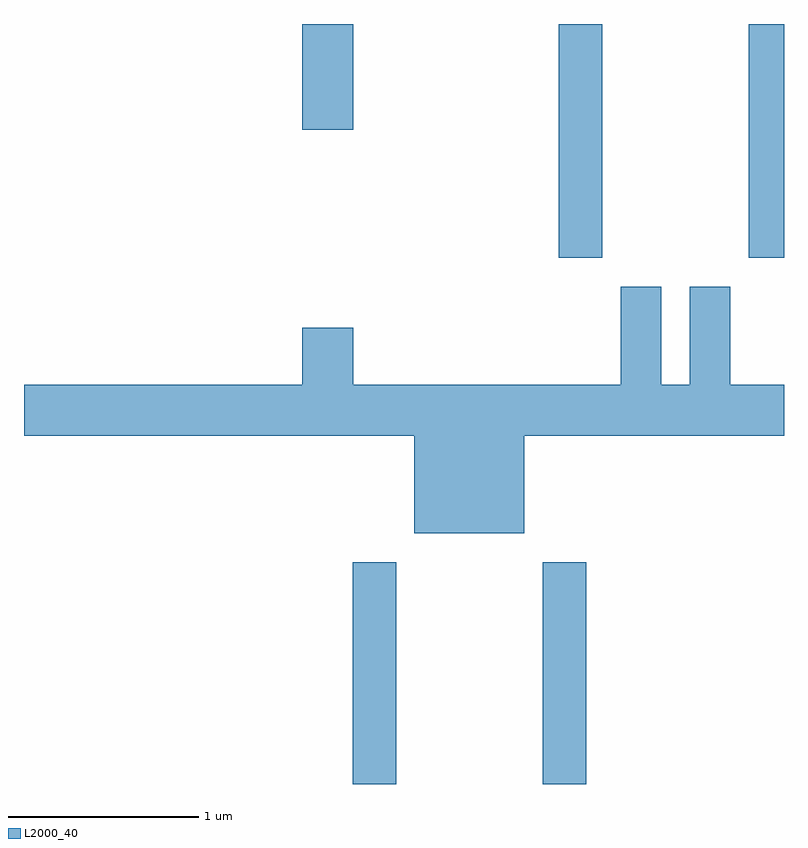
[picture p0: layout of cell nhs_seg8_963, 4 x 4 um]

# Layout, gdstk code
import gdstk
lib = gdstk.Library(unit=1e-6, precision=1e-09)
def R(c, l, rs):  # rectangles x0, y0, x1, y1
    for r in rs: c.add(gdstk.rectangle(r[:2], r[2:], *l))
def P(c, l, *ps):  # polygons
    for p in ps: c.add(gdstk.Polygon(p, *l))
L2000_40 = (2000, 40)

nhs_seg8_963 = lib.new_cell('nhs_seg8_963')
R(nhs_seg8_963, L2000_40, [(215.341,1852.342,215.569,1853.509), (216.341,1852.342,216.569,1853.509), (216.426,1855.111,216.654,1856.342), (217.426,1855.111,217.611,1856.342), (215.076,1855.786,215.344,1856.342)])
P(nhs_seg8_963, L2000_40, [(216.244,1854.176),(217.611,1854.176),(217.611,1854.444),(217.329,1854.444),(217.329,1854.959),(217.116,1854.959),(217.116,1854.444),(216.964,1854.444),(216.964,1854.959),(216.751,1854.959),(216.751,1854.444),(215.344,1854.444),(215.344,1854.744),(215.076,1854.744),(215.076,1854.444),(213.611,1854.444),(213.611,1854.176),(215.666,1854.176),(215.666,1853.661),(216.244,1853.661)])

lib.write_gds('nhs_seg8_963.gds')
